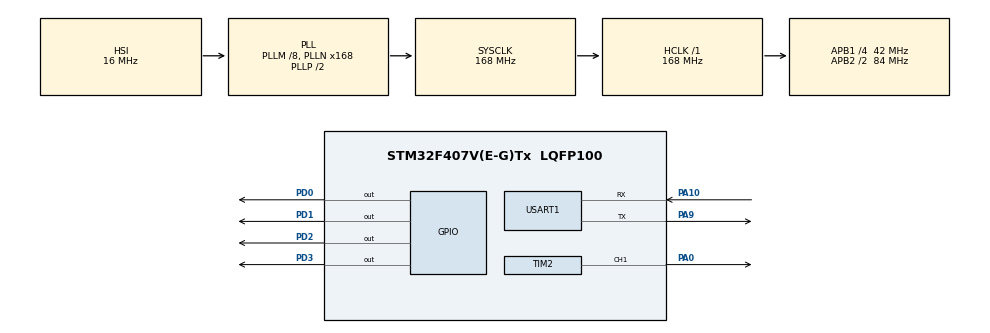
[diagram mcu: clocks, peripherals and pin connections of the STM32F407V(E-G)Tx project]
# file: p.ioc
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FREERTOS.Tasks01=defaultTask,0,128,StartDefaultTask,Default,NULL,Dynamic,NULL,NULL;myTask02,0,128,StartTask02,Default,NULL,Dynamic,NULL,NULL
Mcu.Family=STM32F4
Mcu.Name=STM32F407V(E-G)Tx
Mcu.Package=LQFP100
NVIC.PriorityGroup=NVIC_PRIORITYGROUP_4
NVIC.TIM1_UP_TIM10_IRQn=true\:15\:0\:false\:false\:true\:false\:true\:true\:true
NVIC.TIM2_IRQn=true\:5\:0\:false\:false\:true\:true\:true\:true\:true
NVIC.TimeBase=TIM1_UP_TIM10_IRQn
NVIC.TimeBaseIP=TIM1
NVIC.USART1_IRQn=true\:5\:0\:false\:false\:true\:true\:true\:true\:true
PA0-WKUP.Signal=S_TIM2_CH1_ETR
PA10.Mode=Asynchronous
PA10.Signal=USART1_RX
PA13.Mode=Serial_Wire
PA13.Signal=SYS_JTMS-SWDIO
PA14.Mode=Serial_Wire
PA14.Signal=SYS_JTCK-SWCLK
PA9.Mode=Asynchronous
PA9.Signal=USART1_TX
PD0.Signal=GPIO_Output
PD1.Signal=GPIO_Output
PD2.Signal=GPIO_Output
PD3.Signal=GPIO_Output
PH0-OSC_IN.Mode=HSE-External-Oscillator
PH0-OSC_IN.Signal=RCC_OSC_IN
PH1-OSC_OUT.Mode=HSE-External-Oscillator
PH1-OSC_OUT.Signal=RCC_OSC_OUT
ProjectManager.HeapSize=0x200
ProjectManager.StackSize=0x400
ProjectManager.TargetToolchain=MDK-ARM V5.32
RCC.48MHZClocksFreq_Value=84000000
RCC.AHBFreq_Value=168000000
RCC.APB1CLKDivider=RCC_HCLK_DIV4
RCC.APB1Freq_Value=42000000
RCC.APB1TimFreq_Value=84000000
RCC.APB2CLKDivider=RCC_HCLK_DIV2
RCC.APB2Freq_Value=84000000
RCC.APB2TimFreq_Value=168000000
RCC.CortexFreq_Value=168000000
RCC.HCLKFreq_Value=168000000
RCC.HSE_VALUE=25000000
RCC.HSI_VALUE=16000000
RCC.LSE_VALUE=32768
RCC.PLLM=8
RCC.PLLN=168
RCC.SYSCLKFreq_VALUE=168000000
RCC.SYSCLKSource=RCC_SYSCLKSOURCE_PLLCLK
RCC.VCOOutputFreq_Value=336000000
SH.S_TIM2_CH1_ETR.0=TIM2_CH1,Output Compare1 CH1
TIM2.AutoReloadPreload=TIM_AUTORELOAD_PRELOAD_ENABLE
TIM2.Channel-Output\ Compare1\ CH1=TIM_CHANNEL_1
TIM2.Period=5000
TIM2.Prescaler=8400
USART1.VirtualMode=VM_ASYNC
VP_FREERTOS_VS_CMSIS_V1.Mode=CMSIS_V1
VP_SYS_VS_tim1.Mode=TIM1
VP_TIM2_VS_ClockSourceINT.Mode=Internal
board=custom

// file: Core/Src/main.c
/* USER CODE BEGIN Header */
/**
  ******************************************************************************
  * @file           : main.c
  * @brief          : Main program body
  ******************************************************************************
  * @attention
  *
  * Copyright (c) 2023 STMicroelectronics.
  * All rights reserved.
  *
  * This software is licensed under terms that can be found in the LICENSE file
  * in the root directory of this software component.
  * If no LICENSE file comes with this software, it is provided AS-IS.
  *
  ******************************************************************************
  */
/* USER CODE END Header */
#include "main.h"
#include "cmsis_os.h"
#include "tim.h"
#include "usart.h"
#include "gpio.h"

/* USER CODE BEGIN Includes */
#include "kalman.h"

/* USER CODE END Includes */

void SystemClock_Config(void);
void MX_FREERTOS_Init(void);

int main(void)
{

  /* MCU Configuration--------------------------------------------------------*/

  /* Reset of all peripherals, Initializes the Flash interface and the Systick. */
  HAL_Init();

  /* Configure the system clock */
  SystemClock_Config();

  /* Initialize all configured peripherals */
  MX_GPIO_Init();
  MX_USART1_UART_Init();
  MX_TIM2_Init();
  /* USER CODE BEGIN 2 */
  HAL_TIM_Base_Start_IT(&htim2);
  /* USER CODE END 2 */

  /* Call init function for freertos objects (in freertos.c) */
  MX_FREERTOS_Init();

  /* Start scheduler */
  osKernelStart();
  /* We should never get here as control is now taken by the scheduler */
  /* Infinite loop */
  while (1)
  {

  }
}

void SystemClock_Config(void)
{
  RCC_OscInitTypeDef RCC_OscInitStruct = {0};
  RCC_ClkInitTypeDef RCC_ClkInitStruct = {0};

  /** Configure the main internal regulator output voltage
  */
  __HAL_RCC_PWR_CLK_ENABLE();
  __HAL_PWR_VOLTAGESCALING_CONFIG(PWR_REGULATOR_VOLTAGE_SCALE1);

  /** Initializes the RCC Oscillators according to the specified parameters
  * in the RCC_OscInitTypeDef structure.
  */
  RCC_OscInitStruct.OscillatorType = RCC_OSCILLATORTYPE_HSI;
  RCC_OscInitStruct.HSIState = RCC_HSI_ON;
  RCC_OscInitStruct.HSICalibrationValue = RCC_HSICALIBRATION_DEFAULT;
  RCC_OscInitStruct.PLL.PLLState = RCC_PLL_ON;
  RCC_OscInitStruct.PLL.PLLSource = RCC_PLLSOURCE_HSI;
  RCC_OscInitStruct.PLL.PLLM = 8;
  RCC_OscInitStruct.PLL.PLLN = 168;
  RCC_OscInitStruct.PLL.PLLP = RCC_PLLP_DIV2;
  RCC_OscInitStruct.PLL.PLLQ = 4;
  if (HAL_RCC_OscConfig(&RCC_OscInitStruct) != HAL_OK)
  {
    Error_Handler();
  }

  /** Initializes the CPU, AHB and APB buses clocks
  */
  RCC_ClkInitStruct.ClockType = RCC_CLOCKTYPE_HCLK|RCC_CLOCKTYPE_SYSCLK
                              |RCC_CLOCKTYPE_PCLK1|RCC_CLOCKTYPE_PCLK2;
  RCC_ClkInitStruct.SYSCLKSource = RCC_SYSCLKSOURCE_PLLCLK;
  RCC_ClkInitStruct.AHBCLKDivider = RCC_SYSCLK_DIV1;
  RCC_ClkInitStruct.APB1CLKDivider = RCC_HCLK_DIV4;
  RCC_ClkInitStruct.APB2CLKDivider = RCC_HCLK_DIV2;

  if (HAL_RCC_ClockConfig(&RCC_ClkInitStruct, FLASH_LATENCY_5) != HAL_OK)
  {
    Error_Handler();
  }
}

void HAL_TIM_PeriodElapsedCallback(TIM_HandleTypeDef *htim)
{
  if (htim->Instance == TIM1) {
    HAL_IncTick();
  }
  /* USER CODE BEGIN Callback 1 */

  if (htim->Instance == TIM2){

	  HAL_GPIO_TogglePin(GPIOD,GPIO_PIN_2);
  }
  /* USER CODE END Callback 1 */
}

void Error_Handler(void)
{
  __disable_irq();
  while (1)
  {
  }
}

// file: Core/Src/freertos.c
/* USER CODE BEGIN Header */
/**
  ******************************************************************************
  * File Name          : freertos.c
  * Description        : Code for freertos applications
  ******************************************************************************
  * @attention
  *
  * Copyright (c) 2023 STMicroelectronics.
  * All rights reserved.
  *
  * This software is licensed under terms that can be found in the LICENSE file
  * in the root directory of this software component.
  * If no LICENSE file comes with this software, it is provided AS-IS.
  *
  ******************************************************************************
  */
/* USER CODE END Header */

#include "FreeRTOS.h"
#include "task.h"
#include "main.h"
#include "cmsis_os.h"

/* USER CODE BEGIN Includes */
#include "KalmanFilter.h"
"
/* USER CODE END Includes */

osThreadId defaultTaskHandle;
osThreadId myTask02Handle;

void StartDefaultTask(void const * argument);
void StartTask02(void const * argument);

void MX_FREERTOS_Init(void); /* (MISRA C 2004 rule 8.1) */

/* GetIdleTaskMemory prototype (linked to static allocation support) */
void vApplicationGetIdleTaskMemory( StaticTask_t **ppxIdleTaskTCBBuffer, StackType_t **ppxIdleTaskStackBuffer, uint32_t *pulIdleTaskStackSize );

/* USER CODE BEGIN GET_IDLE_TASK_MEMORY */
static StaticTask_t xIdleTaskTCBBuffer;
static StackType_t xIdleStack[configMINIMAL_STACK_SIZE];

void vApplicationGetIdleTaskMemory( StaticTask_t **ppxIdleTaskTCBBuffer, StackType_t **ppxIdleTaskStackBuffer, uint32_t *pulIdleTaskStackSize )
{
  *ppxIdleTaskTCBBuffer = &xIdleTaskTCBBuffer;
  *ppxIdleTaskStackBuffer = &xIdleStack[0];
  *pulIdleTaskStackSize = configMINIMAL_STACK_SIZE;
  /* place for user code */
}
/* USER CODE END GET_IDLE_TASK_MEMORY */

void MX_FREERTOS_Init(void) {

  /* Create the thread(s) */
  /* definition and creation of defaultTask */
  osThreadDef(defaultTask, StartDefaultTask, osPriorityNormal, 0, 128);
  defaultTaskHandle = osThreadCreate(osThread(defaultTask), NULL);

  /* definition and creation of myTask02 */
  osThreadDef(myTask02, StartTask02, osPriorityNormal, 0, 128);
  myTask02Handle = osThreadCreate(osThread(myTask02), NULL);

}

void StartDefaultTask(void const * argument)
{
  for(;;)
  {
    osDelay(1);
  }
}

void StartTask02(void const * argument)
{
  /* USER CODE BEGIN StartTask02 */

	mat mat1, mat2, mat3;
	float mat1_data[4];
	float mat2_data[4];
	float mat3_data[4];

	mat_init(&mat1, 2, 2, mat1_data);
	mat_init(&mat2, 2, 2, mat2_data);
	mat_init(&mat3, 2, 2, mat3_data);

  /* Infinite loop */
  while(1)
  {
	HAL_GPIO_TogglePin(GPIOD, GPIO_PIN_3);
	HAL_Delay(50);
	osDelay(1);
  }
  /* USER CODE END StartTask02 */
}
